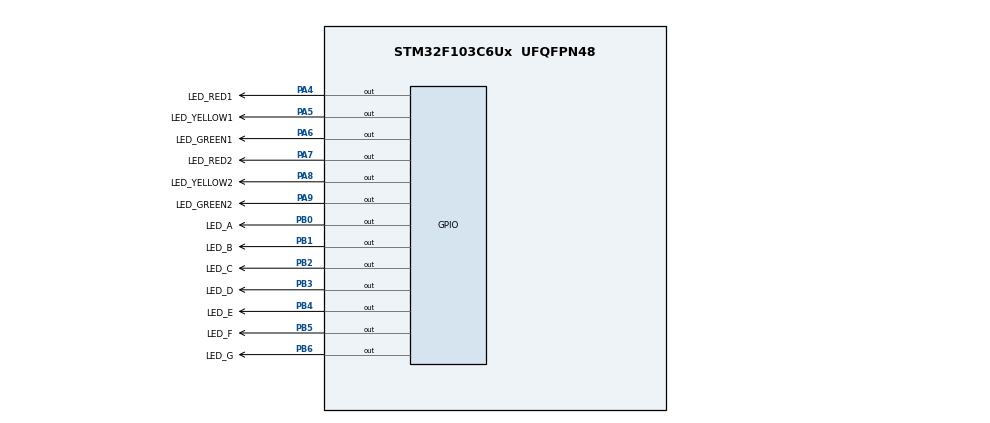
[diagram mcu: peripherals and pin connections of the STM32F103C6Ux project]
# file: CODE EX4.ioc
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Mcu.Family=STM32F1
Mcu.Name=STM32F103C6Ux
Mcu.Package=UFQFPN48
NVIC.PriorityGroup=NVIC_PRIORITYGROUP_4
PA4.GPIO_Label=LED_RED1
PA4.Signal=GPIO_Output
PA5.GPIO_Label=LED_YELLOW1
PA5.Signal=GPIO_Output
PA6.GPIO_Label=LED_GREEN1
PA6.Signal=GPIO_Output
PA7.GPIO_Label=LED_RED2
PA7.Signal=GPIO_Output
PA8.GPIO_Label=LED_YELLOW2
PA8.Signal=GPIO_Output
PA9.GPIO_Label=LED_GREEN2
PA9.Signal=GPIO_Output
PB0.GPIO_Label=LED_A
PB0.Signal=GPIO_Output
PB1.GPIO_Label=LED_B
PB1.Signal=GPIO_Output
PB2.GPIO_Label=LED_C
PB2.Signal=GPIO_Output
PB3.GPIO_Label=LED_D
PB3.Signal=GPIO_Output
PB4.GPIO_Label=LED_E
PB4.Signal=GPIO_Output
PB5.GPIO_Label=LED_F
PB5.Signal=GPIO_Output
PB6.GPIO_Label=LED_G
PB6.Signal=GPIO_Output
ProjectManager.HeapSize=0x200
ProjectManager.StackSize=0x400
ProjectManager.TargetToolchain=STM32CubeIDE
RCC.APB1Freq_Value=8000000
RCC.APB2Freq_Value=8000000
VP_SYS_VS_ND.Mode=No_Debug
board=custom

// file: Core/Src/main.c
/* USER CODE BEGIN Header */
/**
 ******************************************************************************
 * @file           : main.c
 * @brief          : Main program body
 ******************************************************************************
 * @attention
 *
 * <h2><center>&copy; Copyright (c) 2025 STMicroelectronics.
 * All rights reserved.</center></h2>
 *
 * This software component is licensed by ST under BSD 3-Clause license,
 * the "License"; You may not use this file except in compliance with the
 * License. You may obtain a copy of the License at:
 *                        opensource.org/licenses/BSD-3-Clause
 *
 ******************************************************************************
 */
/* USER CODE END Header */
#include "main.h"

/* USER CODE BEGIN PD */
// LED giao thông trên PORTA
#define LED_RED1_Pin GPIO_PIN_4
#define LED_RED1_GPIO_Port GPIOA

#define LED_YELLOW1_Pin GPIO_PIN_5
#define LED_YELLOW1_GPIO_Port GPIOA

#define LED_GREEN1_Pin GPIO_PIN_6
#define LED_GREEN1_GPIO_Port GPIOA

#define LED_RED2_Pin GPIO_PIN_7
#define LED_RED2_GPIO_Port GPIOA

#define LED_YELLOW2_Pin GPIO_PIN_8
#define LED_YELLOW2_GPIO_Port GPIOA

#define LED_GREEN2_Pin GPIO_PIN_9
#define LED_GREEN2_GPIO_Port GPIOA

// 7-Segment trên PORTB
#define LED_A_Pin GPIO_PIN_0
#define LED_A_GPIO_Port GPIOB

#define LED_B_Pin GPIO_PIN_1
#define LED_B_GPIO_Port GPIOB

#define LED_C_Pin GPIO_PIN_2
#define LED_C_GPIO_Port GPIOB

#define LED_D_Pin GPIO_PIN_3
#define LED_D_GPIO_Port GPIOB

#define LED_E_Pin GPIO_PIN_4
#define LED_E_GPIO_Port GPIOB

#define LED_F_Pin GPIO_PIN_5
#define LED_F_GPIO_Port GPIOB

#define LED_G_Pin GPIO_PIN_6
#define LED_G_GPIO_Port GPIOB
/* USER CODE END PD */

void SystemClock_Config(void);
static void MX_GPIO_Init(void);

/* USER CODE BEGIN 0 */
void display7SEG(int num)
{
  // Tắt tất cả các chân trước
  HAL_GPIO_WritePin(GPIOB, LED_A_Pin | LED_B_Pin | LED_C_Pin | LED_D_Pin | LED_E_Pin | LED_F_Pin | LED_G_Pin, SET);

  switch (num)
  {
  case 0: // 0s
    HAL_GPIO_WritePin(GPIOB, LED_A_Pin | LED_B_Pin | LED_C_Pin | LED_D_Pin | LED_E_Pin | LED_F_Pin, RESET);
    break;
  case 1: // 1s
    HAL_GPIO_WritePin(GPIOB, LED_B_Pin | LED_C_Pin, RESET);
    break;
  case 2: // 2s
    HAL_GPIO_WritePin(GPIOB, LED_A_Pin | LED_B_Pin | LED_D_Pin | LED_E_Pin | LED_G_Pin, RESET);
    break;
  case 3: // 3s
    HAL_GPIO_WritePin(GPIOB, LED_A_Pin | LED_B_Pin | LED_C_Pin | LED_D_Pin | LED_G_Pin, RESET);
    break;
  case 4: // 4s
    HAL_GPIO_WritePin(GPIOB, LED_B_Pin | LED_C_Pin | LED_F_Pin | LED_G_Pin, RESET);
    break;
  case 5: // 5s
    HAL_GPIO_WritePin(GPIOB, LED_A_Pin | LED_C_Pin | LED_D_Pin | LED_F_Pin | LED_G_Pin, RESET);
    break;
  case 6: // 6s
    HAL_GPIO_WritePin(GPIOB, LED_A_Pin | LED_C_Pin | LED_D_Pin | LED_E_Pin | LED_F_Pin | LED_G_Pin, RESET);
    break;
  case 7: // 7s
    HAL_GPIO_WritePin(GPIOB, LED_A_Pin | LED_B_Pin | LED_C_Pin, RESET);
    break;
  case 8: // 8s
    HAL_GPIO_WritePin(GPIOB, LED_A_Pin | LED_B_Pin | LED_C_Pin | LED_D_Pin | LED_E_Pin | LED_F_Pin | LED_G_Pin, RESET);
    break;
  case 9: // 9s
    HAL_GPIO_WritePin(GPIOB, LED_A_Pin | LED_B_Pin | LED_C_Pin | LED_D_Pin | LED_F_Pin | LED_G_Pin, RESET);
    break;
  default:
    // Hiển thị gạch ngang nếu num không hợp lệ
    HAL_GPIO_WritePin(GPIOB, LED_G_Pin, RESET);
    break;
  }
}

/* USER CODE END 0 */

int main(void)
{

  /* MCU Configuration--------------------------------------------------------*/

  /* Reset of all peripherals, Initializes the Flash interface and the Systick. */
  HAL_Init();

  /* Configure the system clock */
  SystemClock_Config();

  /* Initialize all configured peripherals */
  MX_GPIO_Init();

  /* Infinite loop */
  /* USER CODE BEGIN WHILE */
  /* USER CODE BEGIN WHILE */
  int counter = 0;
  while (1)
  {
      // ====== ĐÈN ĐỎ1 – XANH2 (3 giây) ======
      for (int i = 0; i < 3; i++)
      {
          HAL_GPIO_WritePin(GPIOA, LED_RED1_Pin, RESET);
          HAL_GPIO_WritePin(GPIOA, LED_YELLOW1_Pin, SET);
          HAL_GPIO_WritePin(GPIOA, LED_GREEN1_Pin, SET);
          HAL_GPIO_WritePin(GPIOA, LED_RED2_Pin, SET);
          HAL_GPIO_WritePin(GPIOA, LED_YELLOW2_Pin, SET);
          HAL_GPIO_WritePin(GPIOA, LED_GREEN2_Pin, RESET);

          if (counter >= 10) counter = 0;
          display7SEG(counter++);
          HAL_Delay(1000); // chờ đúng 1s
      }

      // ====== ĐÈN ĐỎ1 – VÀNG2 (2 giây) ======
      for (int i = 0; i < 2; i++)
      {
          HAL_GPIO_WritePin(GPIOA, LED_RED1_Pin, RESET);
          HAL_GPIO_WritePin(GPIOA, LED_YELLOW1_Pin, SET);
          HAL_GPIO_WritePin(GPIOA, LED_GREEN1_Pin, SET);
          HAL_GPIO_WritePin(GPIOA, LED_RED2_Pin, SET);
          HAL_GPIO_WritePin(GPIOA, LED_YELLOW2_Pin, RESET);
          HAL_GPIO_WritePin(GPIOA, LED_GREEN2_Pin, SET);

          if (counter >= 10) counter = 0;
          display7SEG(counter++);
          HAL_Delay(1000);
      }

      // ====== ĐÈN XANH1 – ĐỎ2 (3 giây) ======
      for (int i = 0; i < 3; i++)
      {
          HAL_GPIO_WritePin(GPIOA, LED_RED1_Pin, SET);
          HAL_GPIO_WritePin(GPIOA, LED_YELLOW1_Pin, SET);
          HAL_GPIO_WritePin(GPIOA, LED_GREEN1_Pin, RESET);
          HAL_GPIO_WritePin(GPIOA, LED_RED2_Pin, RESET);
          HAL_GPIO_WritePin(GPIOA, LED_YELLOW2_Pin, SET);
          HAL_GPIO_WritePin(GPIOA, LED_GREEN2_Pin, SET);

          if (counter >= 10) counter = 0;
          display7SEG(counter++);
          HAL_Delay(1000);
      }

      // ====== ĐÈN VÀNG1 – ĐỎ2 (2 giây) ======
      for (int i = 0; i < 2; i++)
      {
          HAL_GPIO_WritePin(GPIOA, LED_GREEN1_Pin, SET);
          HAL_GPIO_WritePin(GPIOA, LED_RED1_Pin, SET);
          HAL_GPIO_WritePin(GPIOA, LED_YELLOW1_Pin, RESET);
          HAL_GPIO_WritePin(GPIOA, LED_RED2_Pin, RESET);
          HAL_GPIO_WritePin(GPIOA, LED_YELLOW2_Pin, SET);
          HAL_GPIO_WritePin(GPIOA, LED_GREEN2_Pin, SET);

          if (counter >= 10) counter = 0;
          display7SEG(counter++);
          HAL_Delay(1000);
      }
  }
}
  /* USER CODE END WHILE */

void SystemClock_Config(void)
{
  RCC_OscInitTypeDef RCC_OscInitStruct = {0};
  RCC_ClkInitTypeDef RCC_ClkInitStruct = {0};

  /** Initializes the RCC Oscillators according to the specified parameters
  * in the RCC_OscInitTypeDef structure.
  */
  RCC_OscInitStruct.OscillatorType = RCC_OSCILLATORTYPE_HSI;
  RCC_OscInitStruct.HSIState = RCC_HSI_ON;
  RCC_OscInitStruct.HSICalibrationValue = RCC_HSICALIBRATION_DEFAULT;
  RCC_OscInitStruct.PLL.PLLState = RCC_PLL_NONE;
  if (HAL_RCC_OscConfig(&RCC_OscInitStruct) != HAL_OK)
  {
    Error_Handler();
  }
  /** Initializes the CPU, AHB and APB buses clocks
  */
  RCC_ClkInitStruct.ClockType = RCC_CLOCKTYPE_HCLK|RCC_CLOCKTYPE_SYSCLK
                              |RCC_CLOCKTYPE_PCLK1|RCC_CLOCKTYPE_PCLK2;
  RCC_ClkInitStruct.SYSCLKSource = RCC_SYSCLKSOURCE_HSI;
  RCC_ClkInitStruct.AHBCLKDivider = RCC_SYSCLK_DIV1;
  RCC_ClkInitStruct.APB1CLKDivider = RCC_HCLK_DIV1;
  RCC_ClkInitStruct.APB2CLKDivider = RCC_HCLK_DIV1;

  if (HAL_RCC_ClockConfig(&RCC_ClkInitStruct, FLASH_LATENCY_0) != HAL_OK)
  {
    Error_Handler();
  }
}

static void MX_GPIO_Init(void)
{
  GPIO_InitTypeDef GPIO_InitStruct = {0};

  /* GPIO Ports Clock Enable */
  __HAL_RCC_GPIOA_CLK_ENABLE();
  __HAL_RCC_GPIOB_CLK_ENABLE();

  /*Configure GPIO pin Output Level */
  HAL_GPIO_WritePin(GPIOA, LED_RED1_Pin|LED_YELLOW1_Pin|LED_GREEN1_Pin|LED_RED2_Pin
                          |LED_YELLOW2_Pin|LED_GREEN2_Pin, GPIO_PIN_RESET);

  /*Configure GPIO pin Output Level */
  HAL_GPIO_WritePin(GPIOB, LED_A_Pin|LED_B_Pin|LED_C_Pin|LED_D_Pin
                          |LED_E_Pin|LED_F_Pin|LED_G_Pin, GPIO_PIN_RESET);

  /*Configure GPIO pins : LED_RED1_Pin LED_YELLOW1_Pin LED_GREEN1_Pin LED_RED2_Pin
                           LED_YELLOW2_Pin LED_GREEN2_Pin */
  GPIO_InitStruct.Pin = LED_RED1_Pin|LED_YELLOW1_Pin|LED_GREEN1_Pin|LED_RED2_Pin
                          |LED_YELLOW2_Pin|LED_GREEN2_Pin;
  GPIO_InitStruct.Mode = GPIO_MODE_OUTPUT_PP;
  GPIO_InitStruct.Pull = GPIO_NOPULL;
  GPIO_InitStruct.Speed = GPIO_SPEED_FREQ_LOW;
  HAL_GPIO_Init(GPIOA, &GPIO_InitStruct);

  /*Configure GPIO pins : LED_A_Pin LED_B_Pin LED_C_Pin LED_D_Pin
                           LED_E_Pin LED_F_Pin LED_G_Pin */
  GPIO_InitStruct.Pin = LED_A_Pin|LED_B_Pin|LED_C_Pin|LED_D_Pin
                          |LED_E_Pin|LED_F_Pin|LED_G_Pin;
  GPIO_InitStruct.Mode = GPIO_MODE_OUTPUT_PP;
  GPIO_InitStruct.Pull = GPIO_NOPULL;
  GPIO_InitStruct.Speed = GPIO_SPEED_FREQ_LOW;
  HAL_GPIO_Init(GPIOB, &GPIO_InitStruct);

}

void Error_Handler(void)
{
  __disable_irq();
  while (1)
  {
  }
}

/************************ (C) COPYRIGHT STMicroelectronics *****END OF FILE****/
